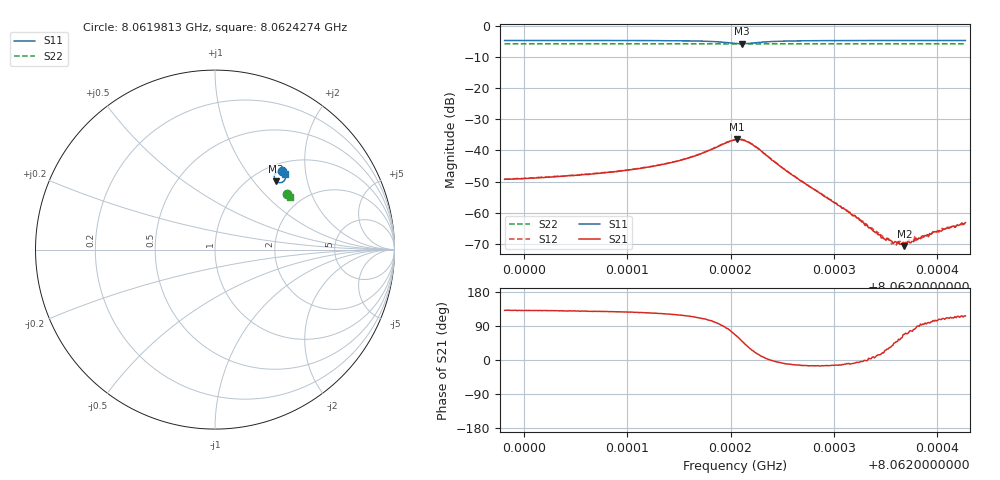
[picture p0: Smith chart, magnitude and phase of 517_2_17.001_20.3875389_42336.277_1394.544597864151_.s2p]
#  HZ  S  RI  R  50.00
! Rohde & Schwarz Vector Network Analyzer
! Rohde-Schwarz,ZNB20-2Port,1311601062101988,3.16
! Created: UTC 3/20/2024, 11:15:14 PM
! freq[Hz]  re:S11  im:S11  re:S21  im:S21  re:S12  im:S12  re:S22  im:S22
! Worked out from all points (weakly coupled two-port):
!   401 points, 8.0619813 GHz to 8.0624274 GHz, reference 50 ohm
!   highest |S21| = -36.50 dB at 8.0622066 GHz (marker M1); lowest = -70.7 dB at 8.0623683 GHz (marker M2)
!   lowest |S11| = -5.8 dB at 8.062211 GHz (marker M3), VSWR 3.09, Z = 63.7 + j65.7 ohm
!   |S11| at or under -10 dB: nowhere
!   |S22| runs from -5.9 to -5.9 dB; largest |S21 - S12| = 0.0011
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8.06198128e9  0.3757 0.4367  -0.00226 0.0026  -0.00212 0.00272  0.4026 0.3125
8.06205601e9  0.3817 0.4308  -0.00258 0.00317  -0.00237 0.00339  0.4054 0.3086
8.06209282e9  0.3852 0.4267  -0.0028 0.00373  -0.00258 0.00391  0.4068 0.3064
8.06213074e9  0.3894 0.42  -0.00312 0.00486  -0.00286 0.0051  0.4081 0.3045
8.0621642e9  0.3932 0.4075  -0.00325 0.00733  -0.00285 0.00757  0.4093 0.3023
8.06218874e9  0.3871 0.3857  -0.00111 0.0117  -0.000445 0.0118  0.4094 0.3002
8.06220436e9  0.3583 0.3729  0.0057 0.0136  0.00646 0.0133  0.4086 0.2993
8.06220659e9  0.3521 0.3743  0.00707 0.0132  0.00799 0.0128  0.4084 0.2995
8.06221105e9  0.3406 0.3808  0.00949 0.0113  0.0103 0.011  0.408 0.2996
8.06222332e9  0.331 0.4111  0.0109 0.00415  0.0113 0.00351  0.4085 0.3004
8.06225232e9  0.3567 0.4355  0.00489 -0.000802  0.00488 -0.00106  0.4108 0.2998
8.06227909e9  0.3697 0.435  0.00239 -0.000657  0.00235 -0.000816  0.4124 0.2983
8.06232147e9  0.379 0.4314  0.000861 -9.84e-05  0.000837 -0.000157  0.4142 0.296
8.06234824e9  0.3828 0.4294  0.000369 0.000123  0.000383 8.62e-05  0.4153 0.2946
8.06235382e9  0.3834 0.4288  0.000306 0.000198  0.000337 0.000174  0.4153 0.2942
8.06235828e9  0.384 0.4284  0.000238 0.000235  0.000242 0.000199  0.4156 0.2942
8.06236609e9  0.3848 0.428  0.000168 0.000275  0.000153 0.000284  0.4158 0.2936
8.06236832e9  0.3851 0.4278  0.000111 0.000271  0.000139 0.000292  0.4159 0.2936
8.06238951e9  0.3871 0.4262  -3.74e-05 0.000426  -4.36e-05 0.000419  0.4166 0.2924
8.06239732e9  0.3878 0.4258  -0.000106 0.000488  -8.68e-05 0.000486  0.4169 0.292
8.06240735e9  0.3887 0.425  -0.000166 0.000528  -0.000113 0.000536  0.4172 0.2914
8.06242743e9  0.3902 0.4239  -0.000309 0.000624  -0.00024 0.000641  0.4181 0.2904
